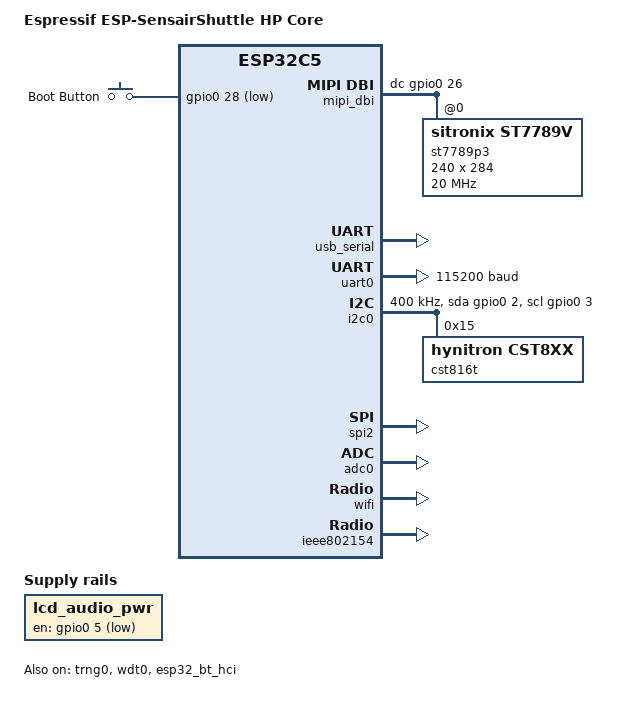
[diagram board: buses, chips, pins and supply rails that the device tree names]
/*
 * Copyright (c) 2026 Espressif Systems (Shanghai) Co., Ltd.
 *
 * SPDX-License-Identifier: Apache-2.0
 */

/dts-v1/;

#include <espressif/esp32c5/esp32c5.dtsi>
#include "esp_sensairshuttle_hpcore-pinctrl.dtsi"
#include <zephyr/dt-bindings/input/input-event-codes.h>
#include <zephyr/dt-bindings/display/panel.h>
#include <zephyr/dt-bindings/mipi_dbi/mipi_dbi.h>
#include <espressif/partitions_0x2000_default_16M.dtsi>

/ {
	compatible = "espressif,esp32c5";
	model = "Espressif ESP-SensairShuttle HP Core";

	chosen {
		zephyr,sram = &sramhp;
		zephyr,console = &usb_serial;
		zephyr,shell-uart = &usb_serial;
		zephyr,flash = &flash0;
		zephyr,code-partition = &slot0_partition;
		zephyr,ieee802154 = &ieee802154;
		zephyr,bt-hci = &esp32_bt_hci;
		zephyr,display = &st7789p3;
		zephyr,touch = &cst816t;
	};

	aliases {
		sw0 = &boot_button;
		watchdog0 = &wdt0;
	};

	gpio_keys {
		compatible = "gpio-keys";

		boot_button: button {
			label = "Boot Button";
			gpios = <&gpio0 28 (GPIO_PULL_UP | GPIO_ACTIVE_LOW)>;
			zephyr,code = <INPUT_KEY_0>;
		};
	};

	lcd_audio_pwr: lcd-audio-pwr {
		compatible = "regulator-fixed";
		regulator-name = "lcd_audio_pwr";
		enable-gpios = <&gpio0 5 GPIO_ACTIVE_LOW>;
		regulator-boot-on;
	};

	mipi_dbi {
		compatible = "zephyr,mipi-dbi-spi";
		spi-dev = <&spi2>;
		dc-gpios = <&gpio0 26 GPIO_ACTIVE_HIGH>;
		write-only;
		#address-cells = <1>;
		#size-cells = <0>;

		st7789p3: st7789p3@0 {
			compatible = "sitronix,st7789v";
			reg = <0>;
			mipi-max-frequency = <20000000>;
			mipi-mode = "MIPI_DBI_MODE_SPI_4WIRE";
			width = <240>;
			height = <284>;
			x-offset = <0>;
			y-offset = <0>;
			vcom = <0x21>;
			gctrl = <0x05>;
			vrhs = <0x15>;
			vdvs = <0x20>;
			mdac = <0x00>;
			gamma = <0x01>;
			lcm = <0x2c>;
			pixel-format = <PANEL_PIXEL_FORMAT_RGB_565>;
			porch-param = [0c 0c 00 33 33];
			pwctrl1-param = [a4 a1];
			ram-param = [00 f8];
			pvgam-param = [f0 05 0e 08 0a 17 39 54 4e 37 12 12 31 37];
			nvgam-param = [f0 10 14 0d 0b 05 39 44 4d 38 14 14 2e 35];
		};
	};
};

&flash0 {
	reg = <0x0 DT_SIZE_M(16)>;
	ranges = <0x0 0x0 DT_SIZE_M(16)>;
};

&psram0 {
	size = <DT_SIZE_M(8)>;
};

&usb_serial {
	status = "okay";
};

&uart0 {
	current-speed = <115200>;
	pinctrl-0 = <&uart0_default>;
	pinctrl-names = "default";
};

&gpio0 {
	status = "okay";
};

zephyr_i2c: &i2c0 {
	clock-frequency = <I2C_BITRATE_FAST>;
	sda-gpios = <&gpio0 2 GPIO_OPEN_DRAIN>;
	scl-gpios = <&gpio0 3 GPIO_OPEN_DRAIN>;
	pinctrl-0 = <&i2c0_default>;
	pinctrl-names = "default";
	status = "okay";

	cst816t: cst816t@15 {
		compatible = "hynitron,cst8xx";
		reg = <0x15>;
		screen-width = <240>;
		screen-height = <284>;
		inverted-y;
	};
};

&spi2 {
	#address-cells = <1>;
	#size-cells = <0>;
	pinctrl-0 = <&spim2_default>;
	pinctrl-names = "default";
	status = "okay";
};

&adc0 {
	status = "okay";
};

&dma {
	status = "okay";
};

&trng0 {
	status = "okay";
};

&wdt0 {
	status = "okay";
};

&wifi {
	status = "okay";
};

&ieee802154 {
	status = "okay";
};

&esp32_bt_hci {
	status = "okay";
};
